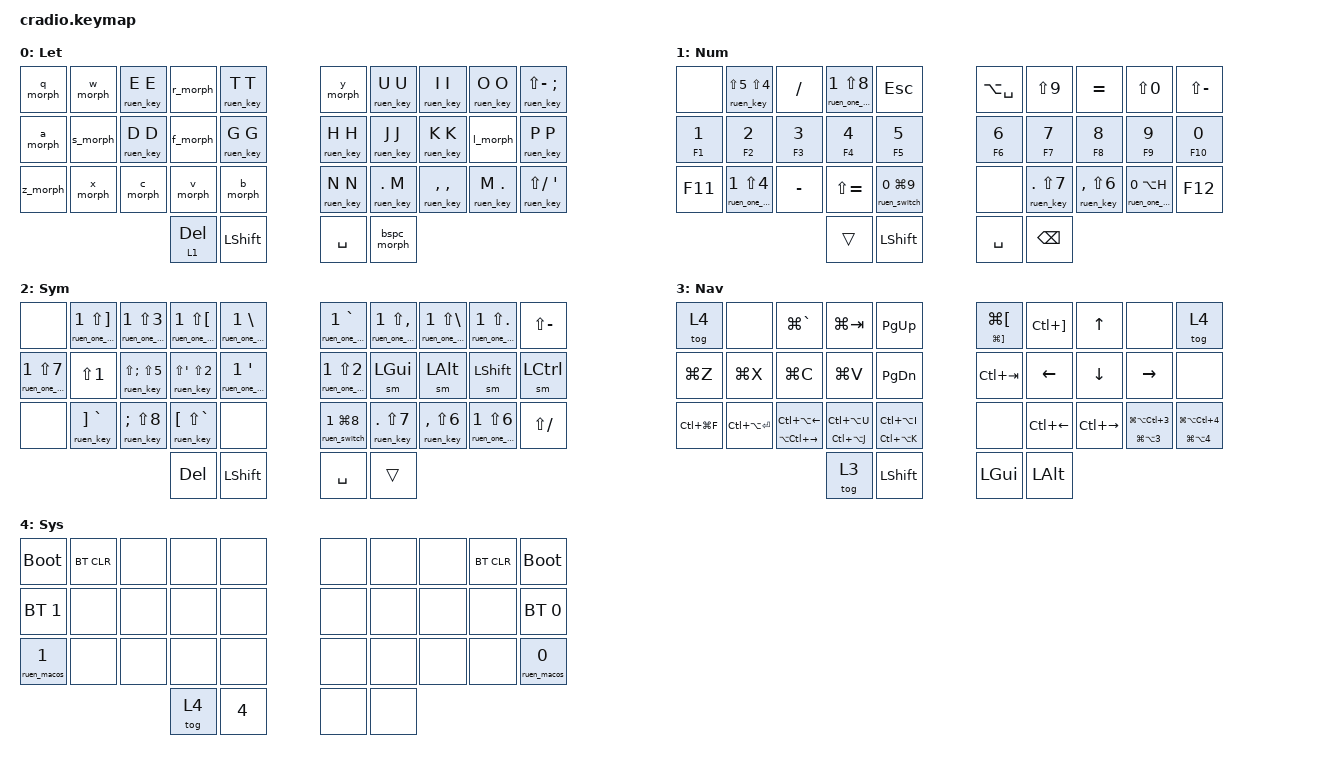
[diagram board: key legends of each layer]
#include <behaviors/ruen.dtsi>
#include <behaviors.dtsi>
#include <dt-bindings/zmk/bt.h>
#include <dt-bindings/zmk/keys.h>

/ {
    chosen { zmk,charmap = &charmap_us; };

    behaviors {
        ht: hold_tap {
            label = "hold_tap_letters";
            compatible = "zmk,behavior-hold-tap";
            #binding-cells = <2>;
            flavor = "tap-preferred";
            tapping-term-ms = <220>;
            quick-tap-ms = <150>;
            global-quick-tap;
            bindings = <&kp>, <&kp>;
        };

        sm: sticky_mod {
            compatible = "zmk,behavior-sticky-key";
            label = "STICKY_MOD";
            bindings = <&kp>;
            #binding-cells = <1>;
            release-after-ms = <5000>;
            quick-release;
            ignore-modifiers;
        };

        bspc_morph: bspc_morph {
            compatible = "zmk,behavior-mod-morph";
            label = "BACKSPACE_MORPH";
            bindings = <&lt 2 BACKSPACE>, <&lt 2 LA(BACKSPACE)>;

            #binding-cells = <0>;
            mods = <(MOD_LSFT)>;
        };

        q_morph: q_morph {
            compatible = "zmk,behavior-mod-morph";
            label = "Q_MORPH";
            bindings = <&ruen_key Q Q>, <&kp LG(Q)>;

            #binding-cells = <0>;
            mods = <(MOD_LGUI)>;
        };

        a_morph: a_morph {
            compatible = "zmk,behavior-mod-morph";
            label = "A_MORPH";
            bindings = <&ruen_key A A>, <&kp LG(A)>;

            #binding-cells = <0>;
            mods = <(MOD_LGUI)>;
        };

        z_morph: z_morph {
            compatible = "zmk,behavior-mod-morph";
            label = "Z_MORPH";
            bindings = <&ruen_key Z Z>, <&kp LG(Z)>;

            #binding-cells = <0>;
            mods = <(MOD_LGUI)>;
        };

        w_morph: w_morph {
            compatible = "zmk,behavior-mod-morph";
            label = "W_MORPH";
            bindings = <&ruen_key W W>, <&kp LG(W)>;

            #binding-cells = <0>;
            mods = <(MOD_LGUI)>;
        };

        s_morph: s_morph {
            compatible = "zmk,behavior-mod-morph";
            label = "S_MORPH";
            bindings = <&ruen_key S S>, <&kp LG(S)>;

            #binding-cells = <0>;
            mods = <(MOD_LGUI)>;
        };

        x_morph: x_morph {
            compatible = "zmk,behavior-mod-morph";
            label = "X_MORPH";
            bindings = <&ruen_key X X>, <&kp LG(X)>;

            #binding-cells = <0>;
            mods = <(MOD_LGUI)>;
        };

        c_morph: c_morph {
            compatible = "zmk,behavior-mod-morph";
            label = "C_MORPH";
            bindings = <&ruen_key C C>, <&kp LG(C)>;

            #binding-cells = <0>;
            mods = <(MOD_LGUI)>;
        };

        r_morph: r_morph {
            compatible = "zmk,behavior-mod-morph";
            label = "R_MORPH";
            bindings = <&ruen_key R R>, <&kp LG(R)>;

            #binding-cells = <0>;
            mods = <(MOD_LGUI)>;
        };

        f_morph: f_morph {
            compatible = "zmk,behavior-mod-morph";
            label = "F_MORPH";
            bindings = <&ruen_key F F>, <&kp LG(F)>;

            #binding-cells = <0>;
            mods = <(MOD_LGUI)>;
        };

        v_morph: v_morph {
            compatible = "zmk,behavior-mod-morph";
            label = "V_MORPH";
            bindings = <&ruen_key V V>, <&kp LG(V)>;

            #binding-cells = <0>;
            mods = <(MOD_LGUI)>;
        };

        b_morph: b_morph {
            compatible = "zmk,behavior-mod-morph";
            label = "B_MORPH";
            bindings = <&ruen_key B B>, <&kp LG(B)>;

            #binding-cells = <0>;
            mods = <(MOD_LGUI)>;
        };

        y_morph: y_morph {
            compatible = "zmk,behavior-mod-morph";
            label = "Y_MORPH";
            bindings = <&ruen_key Y Y>, <&kp LG(Y)>;

            #binding-cells = <0>;
            mods = <(MOD_LGUI)>;
        };

        l_morph: l_morph {
            compatible = "zmk,behavior-mod-morph";
            label = "L_MORPH";
            bindings = <&ruen_key L L>, <&kp LG(L)>;

            #binding-cells = <0>;
            mods = <(MOD_LGUI)>;
        };

        // Add: N O T Move: L

        ruen_one_key: ruen_one_key {
            compatible = "zmk,behavior-ruen-one-key";
            #binding-cells = <2>;
            to_en = <0x8070025>; // LG(N8)
            to_ru = <0x8070026>; // LG(N9)
        };
    };

    conditional_layers { compatible = "zmk,conditional-layers"; };

    combos {
        compatible = "zmk,combos";

        tab {
            bindings = <&kp TAB>;
            key-positions = <11 12 13>;
            layers = <0 3>;
        };

        enter {
            bindings = <&kp ENTER>;
            key-positions = <16 17 18>;
            layers = <0 3>;
        };

        tg3 {
            bindings = <&tog 3>;
            key-positions = <31 32>;
            layers = <0>;
        };

        cmd {
            bindings = <&kp LEFT_GUI>;
            key-positions = <30 31>;
            layers = <0 1>;
        };

        DPtoIE {
            bindings = <&ruen_key F24 O>;
            key-positions = <12 13>;
            layers = <0>;
        };

        OAtoSHCH {
            bindings = <&ruen_key F24 RBKT>;
            key-positions = <2 3>;
            layers = <0>;
        };
    };

    keymap {
        compatible = "zmk,keymap";

        Let {
            bindings = <
&q_morph  &w_morph  &ruen_key E E  &r_morph      &ruen_key T T  &y_morph       &ruen_key U U       &ruen_key I I          &ruen_key O O       &ruen_key LS(MINUS) SEMICOLON
&a_morph  &s_morph  &ruen_key D D  &f_morph      &ruen_key G G  &ruen_key H H  &ruen_key J J       &ruen_key K K          &l_morph            &ruen_key P P
&z_morph  &x_morph  &c_morph       &v_morph      &b_morph       &ruen_key N N  &ruen_key PERIOD M  &ruen_key COMMA COMMA  &ruen_key M PERIOD  &ruen_key LS(SLASH) SQT
                                   &lt 1 DELETE  &kp LSHIFT     &kp SPACE      &bspc_morph
            >;
        };

        Num {
            bindings = <
&none            &ruen_key LS(N5) LS(N4)  &kp SLASH        &ruen_one_key 1 LS(N8)  &kp ESCAPE               &kp LA(SPACE)    &kp LS(N9)               &kp EQUAL               &kp LS(N0)             &kp LS(MINUS)
&ht F1 NUMBER_1  &ht F2 NUMBER_2          &ht F3 NUMBER_3  &ht F4 NUMBER_4         &ht F5 NUMBER_5          &ht F6 NUMBER_6  &ht F7 NUMBER_7          &ht F8 NUMBER_8         &ht F9 NUMBER_9        &ht F10 NUMBER_0
&kp F11          &ruen_one_key 1 LS(N4)   &kp MINUS        &kp LS(EQUAL)           &ruen_switch 0 LG(N9)    &none            &ruen_key PERIOD LS(N7)  &ruen_key COMMA LS(N6)  &ruen_one_key 0 LA(H)  &kp F12
                                                           &trans                  &kp LEFT_SHIFT           &kp SPACE        &kp BACKSPACE
            >;
        };

        Sym {
            bindings = <
&none                   &ruen_one_key 1 LS(RIGHT_BRACKET)  &ruen_one_key 1 LS(N3)          &ruen_one_key 1 LS(LEFT_BRACKET)  &ruen_one_key 1 BACKSLASH    &ruen_one_key 1 GRAVE   &ruen_one_key 1 LS(COMMA)  &ruen_one_key 1 LS(BACKSLASH)  &ruen_one_key 1 LS(PERIOD)  &kp LS(MINUS)
&ruen_one_key 1 LS(N7)  &kp LS(N1)                         &ruen_key LS(SEMICOLON) LS(N5)  &ruen_key LS(SQT) LS(N2)          &ruen_one_key 1 SQT          &ruen_one_key 1 LS(N2)  &sm LEFT_GUI               &sm LEFT_ALT                   &sm LEFT_SHIFT              &sm LCTRL
&none                   &ruen_key RIGHT_BRACKET GRAVE      &ruen_key SEMICOLON LS(N8)      &ruen_key LEFT_BRACKET LS(GRAVE)  &none                        &ruen_switch 1 LG(N8)   &ruen_key PERIOD LS(N7)    &ruen_key COMMA LS(N6)         &ruen_one_key 1 LS(N6)      &kp LS(SLASH)
                                                                                           &kp DEL                           &kp LEFT_SHIFT               &kp SPACE               &trans
            >;
        };

        Nav {
            bindings = <
&tog 4         &none              &kp LG(GRAVE)                   &kp LG(TAB)              &kp PAGE_UP                &ht LG(RIGHT_BRACKET) LG(LEFT_BRACKET)  &kp LC(RIGHT_BRACKET)  &kp UP         &none                                      &tog 4
&kp LG(Z)      &kp LG(X)          &kp LG(C)                       &kp LG(V)                &kp PAGE_DOWN              &kp LC(TAB)                             &kp LEFT               &kp DOWN       &kp RIGHT                                  &none
&kp LC(LG(F))  &kp LC(LA(ENTER))  &ht LA(LC(RIGHT)) LC(LA(LEFT))  &ht LC(LA(J)) LC(LA(U))  &ht LC(LA(K)) LC(LA(I))    &none                                   &kp LC(LEFT)           &kp LC(RIGHT)  &ht LG(LA(NUMBER_3)) LG(LA(LC(NUMBER_3)))  &ht LG(LA(NUMBER_4)) LG(LA(LC(NUMBER_4)))
                                                                  &tog 3                   &kp LEFT_SHIFT             &kp LEFT_GUI                            &kp LEFT_ALT
            >;
        };

        Sys {
            bindings = <
&bootloader    &bt BT_CLR  &none  &none   &none   &none  &none  &none  &bt BT_CLR  &bootloader
&bt BT_SEL 1   &none       &none  &none   &none   &none  &none  &none  &none       &bt BT_SEL 0
&ruen_macos 1  &none       &none  &none   &none   &none  &none  &none  &none       &ruen_macos 0
                                  &tog 4  &kp N4  &none  &none
            >;
        };
    };
};
